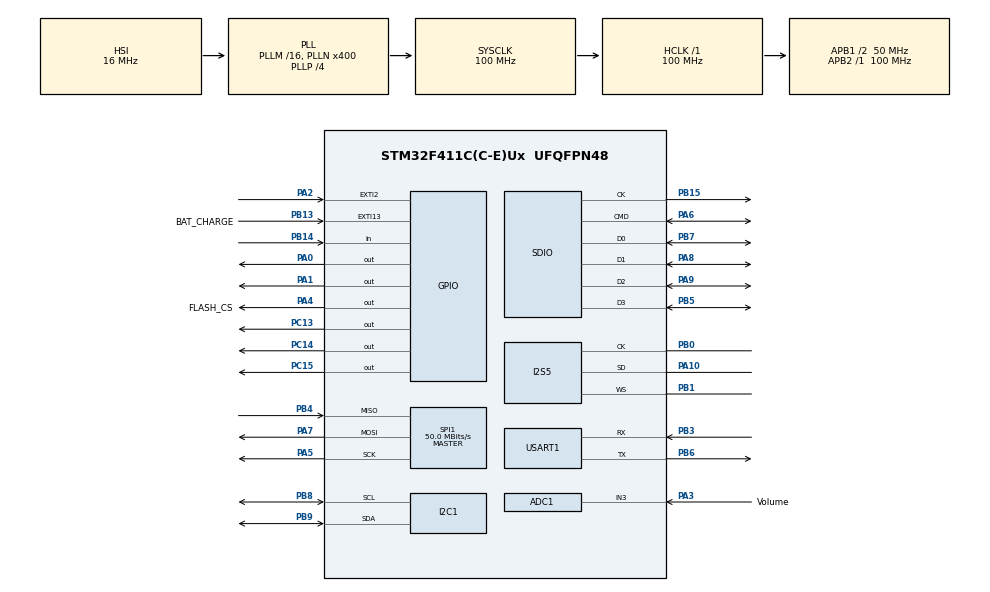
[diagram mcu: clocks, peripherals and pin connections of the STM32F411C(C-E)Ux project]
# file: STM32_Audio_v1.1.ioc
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ADC1.Channel-0\#ChannelRegularConversion=ADC_CHANNEL_3
ADC1.EnableAnalogWatchDog=true
ADC1.InjNumberOfConversion=0
ADC1.NbrOfConversion=1
ADC1.NbrOfConversionFlag=1
ADC1.Rank-0\#ChannelRegularConversion=1
ADC1.SamplingTime-0\#ChannelRegularConversion=ADC_SAMPLETIME_144CYCLES
ADC1.WatchdogChannel=ADC_CHANNEL_3
ADC1.master=1
Dma.ADC1.3.Direction=DMA_PERIPH_TO_MEMORY
Dma.ADC1.3.FIFOMode=DMA_FIFOMODE_DISABLE
Dma.ADC1.3.Instance=DMA2_Stream0
Dma.ADC1.3.MemDataAlignment=DMA_MDATAALIGN_HALFWORD
Dma.ADC1.3.MemInc=DMA_MINC_ENABLE
Dma.ADC1.3.Mode=DMA_NORMAL
Dma.ADC1.3.PeriphDataAlignment=DMA_PDATAALIGN_HALFWORD
Dma.ADC1.3.PeriphInc=DMA_PINC_DISABLE
Dma.ADC1.3.Priority=DMA_PRIORITY_LOW
Dma.Request0=SPI1_TX
Dma.Request1=SPI5_TX
Dma.Request2=SDIO
Dma.Request3=ADC1
Dma.SDIO.2.Direction=DMA_PERIPH_TO_MEMORY
Dma.SDIO.2.FIFOMode=DMA_FIFOMODE_ENABLE
Dma.SDIO.2.FIFOThreshold=DMA_FIFO_THRESHOLD_FULL
Dma.SDIO.2.Instance=DMA2_Stream3
Dma.SDIO.2.MemBurst=DMA_MBURST_INC4
Dma.SDIO.2.MemDataAlignment=DMA_MDATAALIGN_WORD
Dma.SDIO.2.MemInc=DMA_MINC_ENABLE
Dma.SDIO.2.Mode=DMA_PFCTRL
Dma.SDIO.2.PeriphBurst=DMA_PBURST_INC4
Dma.SDIO.2.PeriphDataAlignment=DMA_PDATAALIGN_WORD
Dma.SDIO.2.PeriphInc=DMA_PINC_DISABLE
Dma.SDIO.2.Priority=DMA_PRIORITY_VERY_HIGH
Dma.SPI1_TX.0.Direction=DMA_MEMORY_TO_PERIPH
Dma.SPI1_TX.0.FIFOMode=DMA_FIFOMODE_DISABLE
Dma.SPI1_TX.0.Instance=DMA2_Stream2
Dma.SPI1_TX.0.MemDataAlignment=DMA_MDATAALIGN_BYTE
Dma.SPI1_TX.0.MemInc=DMA_MINC_ENABLE
Dma.SPI1_TX.0.Mode=DMA_NORMAL
Dma.SPI1_TX.0.PeriphDataAlignment=DMA_PDATAALIGN_BYTE
Dma.SPI1_TX.0.PeriphInc=DMA_PINC_DISABLE
Dma.SPI1_TX.0.Priority=DMA_PRIORITY_LOW
Dma.SPI5_TX.1.Direction=DMA_MEMORY_TO_PERIPH
Dma.SPI5_TX.1.FIFOMode=DMA_FIFOMODE_ENABLE
Dma.SPI5_TX.1.FIFOThreshold=DMA_FIFO_THRESHOLD_FULL
Dma.SPI5_TX.1.Instance=DMA2_Stream4
Dma.SPI5_TX.1.MemBurst=DMA_MBURST_SINGLE
Dma.SPI5_TX.1.MemDataAlignment=DMA_MDATAALIGN_HALFWORD
Dma.SPI5_TX.1.MemInc=DMA_MINC_ENABLE
Dma.SPI5_TX.1.Mode=DMA_NORMAL
Dma.SPI5_TX.1.PeriphBurst=DMA_PBURST_SINGLE
Dma.SPI5_TX.1.PeriphDataAlignment=DMA_PDATAALIGN_HALFWORD
Dma.SPI5_TX.1.PeriphInc=DMA_PINC_DISABLE
Dma.SPI5_TX.1.Priority=DMA_PRIORITY_VERY_HIGH
FATFS.BSP.number=1
FATFS._FS_NORTC=0
FATFS._FS_REENTRANT=0
FATFS._MAX_SS=4096
FATFS._USE_LFN=2
FATFS0.BSP.STBoard=false
FATFS0.BSP.api=Unknown
FATFS0.BSP.instance=PB14
FATFS0.BSP.ip=GPIO
FATFS0.BSP.mode=Input
FATFS0.BSP.name=Detect_SDIO
FATFS0.BSP.solution=PB14
FREERTOS.BinarySemaphores01=binSemaphoreDisplay,Dynamic,NULL
FREERTOS.Tasks01=defaultTask,0,1024,StartDefaultTask,Default,NULL,Dynamic,NULL,NULL
FREERTOS.configMAX_TASK_NAME_LEN=100
FREERTOS.configMINIMAL_STACK_SIZE=1024
FREERTOS.configTOTAL_HEAP_SIZE=20000
FREERTOS.configUSE_COUNTING_SEMAPHORES=1
I2C1.I2C_Mode=I2C_Fast
I2S5.AudioFreq=I2S_AUDIOFREQ_44K
I2S5.CPOL=I2S_CPOL_HIGH
I2S5.ErrorAudioFreq=0.22 %
I2S5.FullDuplexMode=I2S_FULLDUPLEXMODE_DISABLE
I2S5.Instance=SPI$Index
I2S5.RealAudioFreq=44.1 KHz
I2S5.VirtualMode=I2S_MODE_MASTER
Mcu.Family=STM32F4
Mcu.Name=STM32F411C(C-E)Ux
Mcu.Package=UFQFPN48
NVIC.DMA2_Stream0_IRQn=true\:10\:0\:true\:false\:true\:true\:false\:true\:true
NVIC.DMA2_Stream2_IRQn=true\:8\:0\:true\:false\:true\:true\:false\:true\:true
NVIC.DMA2_Stream3_IRQn=true\:5\:0\:true\:false\:true\:true\:false\:true\:true
NVIC.DMA2_Stream4_IRQn=true\:5\:0\:true\:false\:true\:true\:false\:true\:true
NVIC.EXTI15_10_IRQn=true\:11\:0\:true\:false\:true\:true\:true\:true\:true
NVIC.EXTI2_IRQn=true\:5\:0\:true\:false\:true\:true\:true\:true\:true
NVIC.PriorityGroup=NVIC_PRIORITYGROUP_4
NVIC.SDIO_IRQn=true\:5\:0\:true\:false\:true\:true\:true\:true\:true
NVIC.TIM2_IRQn=true\:9\:0\:true\:false\:true\:true\:true\:true\:true
NVIC.TIM3_IRQn=true\:12\:0\:true\:false\:true\:true\:true\:true\:true
NVIC.TIM5_IRQn=true\:15\:0\:false\:false\:true\:false\:false\:true\:true
NVIC.TimeBase=TIM5_IRQn
NVIC.TimeBaseIP=TIM5
PA0-WKUP.Signal=GPIO_Output
PA1.Signal=GPIO_Output
PA10.GPIO_Speed=GPIO_SPEED_FREQ_VERY_HIGH
PA10.Mode=Half_Duplex_Master
PA10.Signal=I2S5_SD
PA13.Mode=Serial_Wire
PA13.Signal=SYS_JTMS-SWDIO
PA14.Mode=Serial_Wire
PA14.Signal=SYS_JTCK-SWCLK
PA2.GPIO_ModeDefaultEXTI=GPIO_MODE_IT_FALLING
PA2.Signal=GPXTI2
PA3.GPIO_Label=Volume
PA3.Signal=ADCx_IN3
PA4.GPIO_Label=FLASH_CS
PA4.GPIO_PuPd=GPIO_PULLUP
PA4.GPIO_Speed=GPIO_SPEED_FREQ_VERY_HIGH
PA4.PinState=GPIO_PIN_SET
PA4.Signal=GPIO_Output
PA5.Mode=Full_Duplex_Master
PA5.Signal=SPI1_SCK
PA6.Mode=SD_4_bits_Wide_bus
PA6.Signal=SDIO_CMD
PA7.Mode=Full_Duplex_Master
PA7.Signal=SPI1_MOSI
PA8.Mode=SD_4_bits_Wide_bus
PA8.Signal=SDIO_D1
PA9.Mode=SD_4_bits_Wide_bus
PA9.Signal=SDIO_D2
PB0.GPIO_Speed=GPIO_SPEED_FREQ_VERY_HIGH
PB0.Mode=Half_Duplex_Master
PB0.Signal=I2S5_CK
PB1.GPIO_Speed=GPIO_SPEED_FREQ_VERY_HIGH
PB1.Mode=Half_Duplex_Master
PB1.Signal=I2S5_WS
PB13.GPIO_Label=BAT_CHARGE
PB13.GPIO_ModeDefaultEXTI=GPIO_MODE_IT_RISING_FALLING
PB13.Signal=GPXTI13
PB14.Signal=GPIO_Input
PB15.Mode=SD_4_bits_Wide_bus
PB15.Signal=SDIO_CK
PB3.Mode=Asynchronous
PB3.Signal=USART1_RX
PB4.Mode=Full_Duplex_Master
PB4.Signal=SPI1_MISO
PB5.Mode=SD_4_bits_Wide_bus
PB5.Signal=SDIO_D3
PB6.Mode=Asynchronous
PB6.Signal=USART1_TX
PB7.Mode=SD_4_bits_Wide_bus
PB7.Signal=SDIO_D0
PB8.Mode=I2C
PB8.Signal=I2C1_SCL
PB9.Mode=I2C
PB9.Signal=I2C1_SDA
PC13-ANTI_TAMP.GPIO_PuPd=GPIO_PULLUP
PC13-ANTI_TAMP.Signal=GPIO_Output
PC14-OSC32_IN.GPIO_PuPd=GPIO_PULLDOWN
PC14-OSC32_IN.Signal=GPIO_Output
PC15-OSC32_OUT.GPIO_PuPd=GPIO_PULLUP
PC15-OSC32_OUT.Signal=GPIO_Output
PH0\ -\ OSC_IN.Signal=RCC_OSC_IN
PH1\ -\ OSC_OUT.Signal=RCC_OSC_OUT
ProjectManager.HeapSize=0x200
ProjectManager.StackSize=0x400
ProjectManager.TargetToolchain=STM32CubeIDE
RCC.48MHZClocksFreq_Value=40000000
RCC.AHBFreq_Value=100000000
RCC.APB1CLKDivider=RCC_HCLK_DIV2
RCC.APB1Freq_Value=50000000
RCC.APB1TimFreq_Value=100000000
RCC.APB2Freq_Value=100000000
RCC.APB2TimFreq_Value=100000000
RCC.CortexFreq_Value=100000000
RCC.HCLKFreq_Value=100000000
RCC.HSE_VALUE=25000000
RCC.HSI_VALUE=16000000
RCC.LSE_VALUE=32768
RCC.PLLI2SN=302
RCC.PLLN=400
RCC.PLLP=RCC_PLLP_DIV4
RCC.PLLQ=10
RCC.SYSCLKFreq_VALUE=100000000
RCC.SYSCLKSource=RCC_SYSCLKSOURCE_PLLCLK
RCC.VCOOutputFreq_Value=400000000
SDIO.ClockDiv=0
SDIO.ClockPowerSave=SDIO_CLOCK_POWER_SAVE_ENABLE
SH.ADCx_IN3.0=ADC1_IN3,IN3
SPI1.BaudRatePrescaler=SPI_BAUDRATEPRESCALER_2
SPI1.CLKPhase=SPI_PHASE_1EDGE
SPI1.CLKPolarity=SPI_POLARITY_LOW
SPI1.CalculateBaudRate=50.0 MBits/s
SPI1.DataSize=SPI_DATASIZE_8BIT
SPI1.Direction=SPI_DIRECTION_2LINES
SPI1.FirstBit=SPI_FIRSTBIT_MSB
SPI1.Mode=SPI_MODE_MASTER
SPI1.VirtualType=VM_MASTER
STMicroelectronics.X-CUBE-TOUCHGFX.4.20.0.tgfx_block_size=5760
STMicroelectronics.X-CUBE-TOUCHGFX.4.20.0.tgfx_buffering_strategy=Partial
STMicroelectronics.X-CUBE-TOUCHGFX.4.20.0.tgfx_custom_height=240
STMicroelectronics.X-CUBE-TOUCHGFX.4.20.0.tgfx_custom_width=240
STMicroelectronics.X-CUBE-TOUCHGFX.4.20.0.tgfx_location=Allocate
STMicroelectronics.X-CUBE-TOUCHGFX.4.20.0.tgfx_number_of_blocks=2
STMicroelectronics.X-CUBE-TOUCHGFX.4.20.0.tgfx_oswrapper=Custom
STMicroelectronics.X-CUBE-TOUCHGFX.4.20.0.tgfx_partialfb_transmit_strategy=Disabled
STMicroelectronics.X-CUBE-TOUCHGFX.4.20.0_IsPackSelfContextualization=true
TIM2.Period=1999
TIM2.Prescaler=49999
TIM3.AutoReloadPreload=TIM_AUTORELOAD_PRELOAD_ENABLE
TIM3.Period=50000
TIM3.Prescaler=1000
TIM3.TIM_MasterOutputTrigger=TIM_TRGO_RESET
USART1.VirtualMode=VM_ASYNC
VP_ADC1_Vref_Input.Mode=IN-Vrefint
VP_CRC_VS_CRC.Mode=CRC_Activate
VP_FATFS_VS_SDIO.Mode=SDIO
VP_FREERTOS_VS_CMSIS_V1.Mode=CMSIS_V1
VP_SYS_VS_tim5.Mode=TIM5
VP_TIM2_VS_ClockSourceINT.Mode=Internal
VP_TIM3_VS_ClockSourceINT.Mode=Internal
board=custom

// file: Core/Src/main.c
/* USER CODE BEGIN Header */
/**
  ******************************************************************************
  * @file           : main.c
  * @brief          : Main program body
  ******************************************************************************
  * @attention
  *
  * Copyright (c) 2022 STMicroelectronics.
  * All rights reserved.
  *
  * This software is licensed under terms that can be found in the LICENSE file
  * in the root directory of this software component.
  * If no LICENSE file comes with this software, it is provided AS-IS.
  *
  ******************************************************************************
  */
/* USER CODE END Header */
#include "main.h"
#include "cmsis_os.h"
#include "adc.h"
#include "crc.h"
#include "dma.h"
#include "fatfs.h"
#include "i2c.h"
#include "i2s.h"
#include "sdio.h"
#include "spi.h"
#include "tim.h"
#include "usart.h"
#include "gpio.h"

/* USER CODE BEGIN Includes */
#include <stdio.h>
#include "ST7789.h"
#include "Draw.h"
#include "Display.h"
#include "WM8960.h"
#include "Play_wav.h"
#include "Volume.h"
#include "SX1509B.h"
#include "IO_Expand.h"
#include "FileManager.h"
#include "STC3100.h"
#include "Setting.h"
#include "W25Qxx.h"
#include "Database.h"
#include "Utilities.h"
// This just demo
/* USER CODE END Includes */

/* USER CODE BEGIN PD */
#define USE_DEBUG_UART
/* USER CODE END PD */

void SystemClock_Config(void);
void MX_FREERTOS_Init(void);

/* USER CODE BEGIN 0 */
extern STC3100_INFO Batt;
extern uint32_t volumeDigital;
extern DISPLAY Display;
extern __SETTING Setting;
/* USER CODE END 0 */

int main(void)
{
  /* USER CODE BEGIN 1 */
  HAL_StatusTypeDef res = HAL_OK;
  /* USER CODE END 1 */

  /* MCU Configuration--------------------------------------------------------*/

  /* Reset of all peripherals, Initializes the Flash interface and the Systick. */
  HAL_Init();

  /* Configure the system clock */
  SystemClock_Config();

  /* Initialize all configured peripherals */
  MX_GPIO_Init();
  MX_DMA_Init();
  MX_USART1_UART_Init();
  MX_SPI1_Init();
  MX_I2C1_Init();
  MX_I2S5_Init();
  MX_SDIO_SD_Init();
  MX_FATFS_Init();
  MX_TIM3_Init();
  MX_ADC1_Init();
  MX_CRC_Init();
  MX_TIM2_Init();
  /* USER CODE BEGIN 2 */
  ST7789_Init();
  printf("Initialize successfully\n");
//  res = SX1509B_Init();

  res = IO_Expand_Init();
  if(res == HAL_OK)
  {
    printf("SX1509B_Init complete !!!\r\n");
  }
  else
  {
    printf("SX1509B_Init fail ! Error code: %d\r\n", res);
  }
  res = STC3100_Init();
  if(res == HAL_OK)
  {
    printf("STC3100_Init complete !!!\r\n");
  }
  else
  {
    printf("STC3100_Init fail ! Error code: %d\r\n", res);
  }
  res = STC3100_Get(&Batt, BATTERY_PROP_VOLTAGE_NOW);
  //res = WM8960_Init();
  res = WM8960_Init_PLL();
  if(res == HAL_OK)
  {
    printf("WM89060_Init complete !!!\r\n");
  }
  else
  {
    printf("WM89060_Init fail ! Error code: %d\r\n", res);
  }
  ScanSDCard();
  Setting_Init();
  W25Qxx_Init();
  Database_LoadData();
  ListMusic_Init();
  HAL_TIM_Base_Start_IT(&htim3);
  //MX_TouchGFX_Init();
  /* USER CODE END 2 */

  /* Call init function for freertos objects (in freertos.c) */
  MX_FREERTOS_Init();

  /* Start scheduler */
  osKernelStart();

  /* We should never get here as control is now taken by the scheduler */
  /* Infinite loop */
  while (1)
  {

  }
}

void SystemClock_Config(void)
{
  RCC_OscInitTypeDef RCC_OscInitStruct = {0};
  RCC_ClkInitTypeDef RCC_ClkInitStruct = {0};

  /** Configure the main internal regulator output voltage
  */
  __HAL_RCC_PWR_CLK_ENABLE();
  __HAL_PWR_VOLTAGESCALING_CONFIG(PWR_REGULATOR_VOLTAGE_SCALE1);

  /** Initializes the RCC Oscillators according to the specified parameters
  * in the RCC_OscInitTypeDef structure.
  */
  RCC_OscInitStruct.OscillatorType = RCC_OSCILLATORTYPE_HSI;
  RCC_OscInitStruct.HSIState = RCC_HSI_ON;
  RCC_OscInitStruct.HSICalibrationValue = RCC_HSICALIBRATION_DEFAULT;
  RCC_OscInitStruct.PLL.PLLState = RCC_PLL_ON;
  RCC_OscInitStruct.PLL.PLLSource = RCC_PLLSOURCE_HSI;
  RCC_OscInitStruct.PLL.PLLM = 16;
  RCC_OscInitStruct.PLL.PLLN = 400;
  RCC_OscInitStruct.PLL.PLLP = RCC_PLLP_DIV4;
  RCC_OscInitStruct.PLL.PLLQ = 10;
  if (HAL_RCC_OscConfig(&RCC_OscInitStruct) != HAL_OK)
  {
    Error_Handler();
  }

  /** Initializes the CPU, AHB and APB buses clocks
  */
  RCC_ClkInitStruct.ClockType = RCC_CLOCKTYPE_HCLK|RCC_CLOCKTYPE_SYSCLK
                              |RCC_CLOCKTYPE_PCLK1|RCC_CLOCKTYPE_PCLK2;
  RCC_ClkInitStruct.SYSCLKSource = RCC_SYSCLKSOURCE_PLLCLK;
  RCC_ClkInitStruct.AHBCLKDivider = RCC_SYSCLK_DIV1;
  RCC_ClkInitStruct.APB1CLKDivider = RCC_HCLK_DIV2;
  RCC_ClkInitStruct.APB2CLKDivider = RCC_HCLK_DIV1;

  if (HAL_RCC_ClockConfig(&RCC_ClkInitStruct, FLASH_LATENCY_3) != HAL_OK)
  {
    Error_Handler();
  }
}

/* USER CODE BEGIN 4 */

extern void touchgfxSignalVSync(void);
#ifdef __GNUC__
  /* With GCC/RAISONANCE, small printf (option LD Linker->Libraries->Small printf
     set to 'Yes') calls __io_putchar() */
  #define PUTCHAR_PROTOTYPE int __io_putchar(int ch)
#else
  #define PUTCHAR_PROTOTYPE int fputc(int ch, FILE *f)
#endif /* __GNUC__ */
/**
  * @brief  Retargets the C library printf function to the USART.
  * @param  None
  * @retval None
  */
PUTCHAR_PROTOTYPE
{
  /* Place your implementation of fputc here */
  /* e.g. write a character to the EVAL_COM1 and Loop until the end of transmission */
#ifdef USE_DEBUG_UART
  HAL_UART_Transmit(&huart1, (uint8_t *)&ch, 1, 0xFFFF);
#endif
  return ch;
}
/* USER CODE END 4 */

void HAL_TIM_PeriodElapsedCallback(TIM_HandleTypeDef *htim)
{
  /* USER CODE BEGIN Callback 0 */
  if (htim->Instance == TIM2)
  {
    // update current music time
    Display.CurrentTime++;
    //printf("Display.CurrentTime = %ld\n", Display.CurrentTime);
    if(Display.CurrentTime > 0 && Display.CurrentTime > Display.DurationTime)
    {
      Display.CurrentTime = 0;
      HAL_TIM_Base_Stop_IT(&htim2);
    }
    Display.NeedToUpdateCurrentTime = true;
    //touchgfxSignalVSync();
    // LCD back light
    if(Setting.Always_Display == false)
    {
      if(Display.LCDBacklightStatus == true)
      {
        Display.LCDBackLightTime--;
        if(Display.LCDBackLightTime == 0)
        {
          LCD_BackLight_Off();
          Display.LCDBackLightTime = 20;
          Display.LCDBacklightStatus = false;
        }
      }
    }
    // invisible volume
    if(Display.NeedToInvisibleVolume == true)
    {
      Display.TimeForDisplayVolume++;
      if(Display.TimeForDisplayVolume == 5)
      {
        Display.NeedToInvisibleVolume = 0;
        Display.NeedToInvisibleVolume = false;
        Draw_VolumeInvisible();
      }
    }
  }
  // Use for calculate random variable & ADC period
  if(htim->Instance == TIM3)
  {
#if (SELECT_RANDOM == USE_MANUAL_TIMER)
    IncreaseCounter();
#endif
    HAL_ADC_Start_DMA(&hadc1, &volumeDigital, 1);
  }
  /* USER CODE END Callback 0 */
  if (htim->Instance == TIM5) {
    HAL_IncTick();
  }
}

void Error_Handler(void)
{
  __disable_irq();
  while (1)
  {
  }
}

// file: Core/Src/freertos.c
/* USER CODE BEGIN Header */
/**
  ******************************************************************************
  * File Name          : freertos.c
  * Description        : Code for freertos applications
  ******************************************************************************
  * @attention
  *
  * Copyright (c) 2022 STMicroelectronics.
  * All rights reserved.
  *
  * This software is licensed under terms that can be found in the LICENSE file
  * in the root directory of this software component.
  * If no LICENSE file comes with this software, it is provided AS-IS.
  *
  ******************************************************************************
  */
/* USER CODE END Header */

#include "FreeRTOS.h"
#include "task.h"
#include "main.h"
#include "cmsis_os.h"

/* USER CODE BEGIN Includes */
#include "WM8960.h"
#include "Play_wav.h"
#include "STC3100.h"
#include "Display.h"
#include "Draw.h"
#include "Utilities.h"
#include "SX1509B.h"
#include "IO_Expand.h"
#include "Button_Led.h"
//#include "../../TouchGFX/App/app_touchgfx.h"
//#include "../../TouchGFX/target/TouchGFX_DataTransfer.h"
#include <stdio.h>
#include "Setting.h"
#include "Database.h"
#include "RingBuffer_LIFO.h"
extern DISPLAY Display;
extern __SETTING Setting;
extern AUDIO Audio;
extern uint8_t BatteryStatus;
/* USER CODE END Includes */

/* USER CODE BEGIN PD */
//#define USE_DEFAULT_TASK
/* USER CODE END PD */

/* USER CODE BEGIN Variables */
extern STC3100_INFO Batt;
/* USER CODE END Variables */
osThreadId defaultTaskHandle;
osSemaphoreId binSemaphoreDisplayHandle;

/* USER CODE BEGIN FunctionPrototypes */
osThreadId playAudioTaskHandle;
osThreadId batteryMonitoringTaskHandle;
osThreadId updateScreenLCDTaskHandle;
/* USER CODE END FunctionPrototypes */

void StartDefaultTask(void const * argument);

void MX_FREERTOS_Init(void); /* (MISRA C 2004 rule 8.1) */

/* GetIdleTaskMemory prototype (linked to static allocation support) */
void vApplicationGetIdleTaskMemory( StaticTask_t **ppxIdleTaskTCBBuffer, StackType_t **ppxIdleTaskStackBuffer, uint32_t *pulIdleTaskStackSize );

/* USER CODE BEGIN GET_IDLE_TASK_MEMORY */
void StartPlayAudioTask(void const * argument);
void StartBatteryMonitoringTask(void const * argument);
void StartUpdateScreenLCDTask(void const * argument);
static StaticTask_t xIdleTaskTCBBuffer;
static StackType_t xIdleStack[configMINIMAL_STACK_SIZE];

void vApplicationGetIdleTaskMemory( StaticTask_t **ppxIdleTaskTCBBuffer, StackType_t **ppxIdleTaskStackBuffer, uint32_t *pulIdleTaskStackSize )
{
  *ppxIdleTaskTCBBuffer = &xIdleTaskTCBBuffer;
  *ppxIdleTaskStackBuffer = &xIdleStack[0];
  *pulIdleTaskStackSize = configMINIMAL_STACK_SIZE;
  /* place for user code */
}
/* USER CODE END GET_IDLE_TASK_MEMORY */

void MX_FREERTOS_Init(void) {

  /* Create the semaphores(s) */
  /* definition and creation of binSemaphoreDisplay */
  osSemaphoreDef(binSemaphoreDisplay);
  binSemaphoreDisplayHandle = osSemaphoreCreate(osSemaphore(binSemaphoreDisplay), 1);

  /* USER CODE BEGIN RTOS_QUEUES */
  /* add queues, ... */
#ifdef USE_DEFAULT_TASK
  /* USER CODE END RTOS_QUEUES */

  /* Create the thread(s) */
  /* definition and creation of defaultTask */
  osThreadDef(defaultTask, StartDefaultTask, osPriorityNormal, 0, 1024);
  defaultTaskHandle = osThreadCreate(osThread(defaultTask), NULL);

  /* USER CODE BEGIN RTOS_THREADS */
#endif
  /* add threads, ... */
  osThreadDef(batteryMonitoringTask, StartBatteryMonitoringTask, osPriorityNormal, 1, 1 * 1024);
  batteryMonitoringTaskHandle = osThreadCreate(osThread(batteryMonitoringTask), NULL);
  /* add threads, ... */
  osThreadDef(playAudioTask, StartPlayAudioTask, osPriorityNormal, 1, 2 * 1024);
  playAudioTaskHandle = osThreadCreate(osThread(playAudioTask), NULL);
  /* add threads, ... */
  osThreadDef(updateScreenLCDTask, StartUpdateScreenLCDTask, osPriorityNormal, 1, 1 * 1024);
  updateScreenLCDTaskHandle = osThreadCreate(osThread(updateScreenLCDTask), NULL);

  /* USER CODE END RTOS_THREADS */

}

/* USER CODE BEGIN Header_StartDefaultTask */
/**
  * @brief  Function implementing the defaultTask thread.
  * @param  argument: Not used
  * @retval None
  */
#ifdef USE_DEFAULT_TASK
/* USER CODE END Header_StartDefaultTask */
void StartDefaultTask(void const * argument)
{
  /* USER CODE BEGIN StartDefaultTask */
  for(;;)
  {

//    SX1509B_ConfigPinMode(LED_CENTRE, EXTIO_OUTPUT_BREATHE, LOW);
//    SX1509B_WritePin(LED_CENTRE, LOW);
    printf("1. Default task running...\n");
    //MX_TouchGFX_Process();
    osDelay(20000);
  }
  /* USER CODE END StartDefaultTask */
}

/* USER CODE BEGIN Application */
#endif
void StartUpdateScreenLCDTask(void const * argument)
{
  for(;;)
  {
    //printf("4. Update screen LCD task running...\n");
    Display_Update();
    //MX_TouchGFX_Process();
    osDelay(10);
  }
}
void StartPlayAudioTask(void const * argument)
{
  /* USER CODE BEGIN StartDefaultTask */
  /* Infinite loop */
  for(;;)
  {
    printf("2. Play Audio task running...\n");
    if(Display.Mode == INITIALIZE || Display.Mode == CREATE_PLAY_MUSIC || Display.Mode == PLAY_MUSIC)
    {
      osSemaphoreWait(binSemaphoreDisplayHandle, osWaitForever);
      Display.Mode = CREATE_PLAY_MUSIC;
      osSemaphoreRelease(binSemaphoreDisplayHandle);
    }
    PlayWaveFile();
    osSemaphoreWait(binSemaphoreDisplayHandle, osWaitForever);
    if(Audio.NewSongEvent != BACK_TO_PREVIOUS_SONG) // Update if event is not back to previous song
    {
      Audio.PreviousSong = Audio.CurrentSong;// Save the previous song
      Audio_AddPreviousSong(); // add to previous list
    }
    else
    {
      Audio_GetPreviousSong(); // get the latest previous song
      Audio.CurrentSong = Audio.PreviousSong;
    }
    // Check event for new song
    if(Audio.NewSongEvent == SELECT_SONG)// If User select song
    {
      Audio.CurrentSong = Display.CursorListMusic;
      Audio.NewSongEvent = AUTO;
    }
    else if(Audio.NewSongEvent == NEXT_SONG) // If User want to next song
    {
      if(Setting.Music_RandomSong == true) // If setting random song
      {
        if(Audio.MaxSong)
        {
          Audio.CurrentSong = RandomVariableWithoutValue(0, Audio.MaxSong, Audio.CurrentSong); // random song
        }
      }
      else // If setting next +1 song
      {
        Audio.CurrentSong++;// point to next song
        if(Audio.CurrentSong >= Audio.MaxSong)
        {
          Audio.CurrentSong = 0;
        }
      }
      Audio.NewSongEvent = AUTO;
    }
    else if(Audio.NewSongEvent == AUTO)// If setting NewSongEvent == AUTO
    {
      if(Setting.Music_LoopOneSong == true)// If auto and loop one song
      {
        // nothing to do, dont need to point to next song
      }
      else// If just auto
      {
        if(Setting.Music_RandomSong == true) // If setting random song
        {
          if(Audio.MaxSong)
          {
            Audio.CurrentSong = RandomVariableWithoutValue(0, Audio.MaxSong, Audio.CurrentSong); // random song
          }
        }
        else //
        {
          Audio.CurrentSong++;// point to next song
          if(Audio.CurrentSong >= Audio.MaxSong)
          {
            Audio.CurrentSong = 0;
          }
        }
      }
    }
    else // If setting NewSongEvent == BACK_TO_PREVIOUS_SONG
    {
      // No need update because This is handle by above
    }
    if(Display.Mode == LIST_MUSIC)
    {
      Display.NeedToUpdateListMusic = true;// Update list music
    }
    Database_SaveDataMusic();
    osSemaphoreRelease(binSemaphoreDisplayHandle);

    osDelay(100);
  }

  /* USER CODE END StartDefaultTask */
}
void StartBatteryMonitoringTask(void const * argument)
{
  /* USER CODE BEGIN StartDefaultTask */
  HAL_StatusTypeDef res = HAL_OK;
  /* Infinite loop */
  for(;;)
  {
    printf("3. Battery monitoring task running...\n");
    res = STC3100_Get(&Batt, BATTERY_PROP_VOLTAGE_NOW);
#ifdef BATTERY_MONITORING_CURRENT
    res |= STC3100_Get(&Batt, BATTERY_PROP_CURRENT_NOW);
    res |= STC3100_Get(&Batt, BATTERY_PROP_UNIQUEID);
#endif
    if(res == HAL_OK)
    {
      //printf("STC3100 ID = %d\n", Batt.ids[0]);
      printf("Battery voltage = %f, current = %f\n", Batt.voltage , Batt.current);
      Draw_BatteryLevel(200, 5, BatteryPercentCalculation(Batt.voltage));
    }
    else
    {
      BatteryStatus = 1;
    }
    osDelay(10000);
  }

  /* USER CODE END StartDefaultTask */
}
/* USER CODE END Application */
